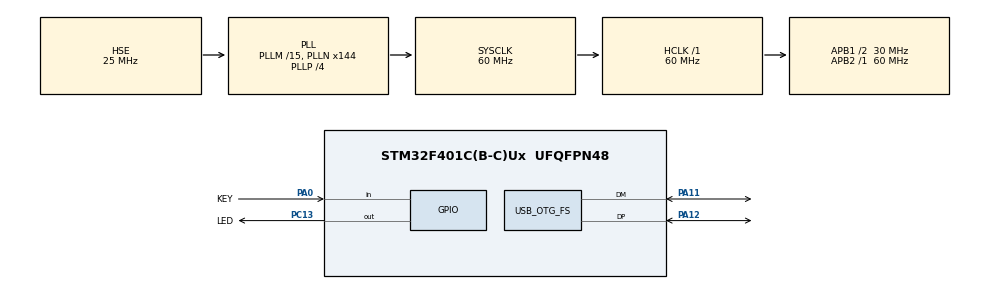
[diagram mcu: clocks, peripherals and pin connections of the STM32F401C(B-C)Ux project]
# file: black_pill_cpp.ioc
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Mcu.Family=STM32F4
Mcu.Name=STM32F401C(B-C)Ux
Mcu.Package=UFQFPN48
NVIC.OTG_FS_IRQn=true\:0\:0\:false\:false\:true\:true\:true
NVIC.PriorityGroup=NVIC_PRIORITYGROUP_4
NVIC.TIM4_IRQn=true\:0\:0\:false\:false\:true\:true\:true
PA0-WKUP.GPIO_Label=KEY
PA0-WKUP.GPIO_PuPd=GPIO_PULLUP
PA0-WKUP.Signal=GPIO_Input
PA11.Mode=Device_Only
PA11.Signal=USB_OTG_FS_DM
PA12.Mode=Device_Only
PA12.Signal=USB_OTG_FS_DP
PC13-ANTI_TAMP.GPIO_Label=LED
PC13-ANTI_TAMP.PinState=GPIO_PIN_RESET
PC13-ANTI_TAMP.Signal=GPIO_Output
PC14-OSC32_IN.Mode=LSE-External-Oscillator
PC14-OSC32_IN.Signal=RCC_OSC32_IN
PC15-OSC32_OUT.Mode=LSE-External-Oscillator
PC15-OSC32_OUT.Signal=RCC_OSC32_OUT
PH0\ -\ OSC_IN.Mode=HSE-External-Oscillator
PH0\ -\ OSC_IN.Signal=RCC_OSC_IN
PH1\ -\ OSC_OUT.Mode=HSE-External-Oscillator
PH1\ -\ OSC_OUT.Signal=RCC_OSC_OUT
ProjectManager.HeapSize=0x200
ProjectManager.StackSize=0x400
ProjectManager.TargetToolchain=STM32CubeIDE
RCC.48MHZClocksFreq_Value=48000000
RCC.AHBFreq_Value=60000000
RCC.APB1CLKDivider=RCC_HCLK_DIV2
RCC.APB1Freq_Value=30000000
RCC.APB1TimFreq_Value=60000000
RCC.APB2Freq_Value=60000000
RCC.APB2TimFreq_Value=60000000
RCC.CortexFreq_Value=60000000
RCC.HCLKFreq_Value=60000000
RCC.HSE_VALUE=25000000
RCC.HSI_VALUE=16000000
RCC.PLLM=15
RCC.PLLN=144
RCC.PLLP=RCC_PLLP_DIV4
RCC.PLLQ=5
RCC.SYSCLKFreq_VALUE=60000000
RCC.SYSCLKSource=RCC_SYSCLKSOURCE_PLLCLK
RCC.VCOOutputFreq_Value=240000000
TIM4.AutoReloadPreload=TIM_AUTORELOAD_PRELOAD_ENABLE
TIM4.Period=1000
TIM4.Prescaler=60
USB_DEVICE.CLASS_NAME_FS=CDC
USB_DEVICE.VirtualMode=Cdc
USB_DEVICE.VirtualModeFS=Cdc_FS
USB_OTG_FS.VirtualMode=Device_Only
VP_TIM4_VS_ClockSourceINT.Mode=Internal
VP_USB_DEVICE_VS_USB_DEVICE_CDC_FS.Mode=CDC_FS
board=custom

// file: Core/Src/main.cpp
/* USER CODE BEGIN Header */
/**
  ******************************************************************************
  * @file           : main.c
  * @brief          : Main program body
  ******************************************************************************
  * @attention
  *
  * Copyright (c) 2022 STMicroelectronics.
  * All rights reserved.
  *
  * This software is licensed under terms that can be found in the LICENSE file
  * in the root directory of this software component.
  * If no LICENSE file comes with this software, it is provided AS-IS.
  *
  ******************************************************************************
  */
/* USER CODE END Header */
#include "main.h"
#include "usb_device.h"
#include "basic_control.h"
#include "usbd_cdc_if.h"

/* USER CODE BEGIN PTD */

/* USER CODE END  PTD */

TIM_HandleTypeDef htim4;

/* USER CODE BEGIN PV */
int mscount = 0;
unsigned char test_data[] = "This is a big ass string\r\n";
// led_state led_control;
/* USER CODE END PV */

void SystemClock_Config(void);
static void MX_GPIO_Init(void);
static void MX_TIM4_Init(void);
/* USER CODE BEGIN PFP */
// uint8_t send_string(uint8_t*[], uint8_t length);
// void process_command(led_state&);

/* USER CODE END PFP */

int main(void)
{

  /* MCU Configuration--------------------------------------------------------*/

  /* Reset of all peripherals, Initializes the Flash interface and the Systick. */
  HAL_Init();

  /* Configure the system clock */
  SystemClock_Config();

  /* Initialize all configured peripherals */
  MX_GPIO_Init();
  MX_TIM4_Init();
  MX_USB_DEVICE_Init();
  /* USER CODE BEGIN 2 */
  uint8_t nbyte = 0;

  //HAL_GPIO_WritePin(LED_GPIO_Port, LED_Pin,GPIO_PinState::GPIO_PIN_RESET);
  /* USER CODE END 2 */

  /* Infinite loop */
  while (1)
  {
    /* USER CODE BEGIN 3 */
   uint8_t receive_status;
   uint32_t l = 1;
   receive_status = USBD_Interface_fops_FS.Receive(&nbyte, &l);
   if(receive_status == USBD_OK){
    uint8_t string_buffer[] = "I recieved X in string\r";
    string_buffer[11] = nbyte;
    CDC_Transmit_FS(string_buffer,sizeof(string_buffer));
	  HAL_GPIO_TogglePin(LED_GPIO_Port, LED_Pin);
   }
   else{
    uint8_t buf = 0x30;
   	CDC_Transmit_FS(&buf, 1);
   }
  /* USER CODE END 3 */
  }
}

void SystemClock_Config(void)
{
  RCC_OscInitTypeDef RCC_OscInitStruct = {0};
  RCC_ClkInitTypeDef RCC_ClkInitStruct = {0};

  /** Configure the main internal regulator output voltage
  */
  __HAL_RCC_PWR_CLK_ENABLE();
  __HAL_PWR_VOLTAGESCALING_CONFIG(PWR_REGULATOR_VOLTAGE_SCALE2);
  /** Initializes the RCC Oscillators according to the specified parameters
  * in the RCC_OscInitTypeDef structure.
  */
  RCC_OscInitStruct.OscillatorType = RCC_OSCILLATORTYPE_HSE;
  RCC_OscInitStruct.HSEState = RCC_HSE_ON;
  RCC_OscInitStruct.PLL.PLLState = RCC_PLL_ON;
  RCC_OscInitStruct.PLL.PLLSource = RCC_PLLSOURCE_HSE;
  RCC_OscInitStruct.PLL.PLLM = 15;
  RCC_OscInitStruct.PLL.PLLN = 144;
  RCC_OscInitStruct.PLL.PLLP = RCC_PLLP_DIV4;
  RCC_OscInitStruct.PLL.PLLQ = 5;
  if (HAL_RCC_OscConfig(&RCC_OscInitStruct) != HAL_OK)
  {
    Error_Handler();
  }
  /** Initializes the CPU, AHB and APB buses clocks
  */
  RCC_ClkInitStruct.ClockType = RCC_CLOCKTYPE_HCLK|RCC_CLOCKTYPE_SYSCLK
                              |RCC_CLOCKTYPE_PCLK1|RCC_CLOCKTYPE_PCLK2;
  RCC_ClkInitStruct.SYSCLKSource = RCC_SYSCLKSOURCE_PLLCLK;
  RCC_ClkInitStruct.AHBCLKDivider = RCC_SYSCLK_DIV1;
  RCC_ClkInitStruct.APB1CLKDivider = RCC_HCLK_DIV2;
  RCC_ClkInitStruct.APB2CLKDivider = RCC_HCLK_DIV1;

  if (HAL_RCC_ClockConfig(&RCC_ClkInitStruct, FLASH_LATENCY_1) != HAL_OK)
  {
    Error_Handler();
  }
}

static void MX_TIM4_Init(void)
{

  TIM_ClockConfigTypeDef sClockSourceConfig = {0};
  TIM_MasterConfigTypeDef sMasterConfig = {0};

  htim4.Instance = TIM4;
  htim4.Init.Prescaler = 60;
  htim4.Init.CounterMode = TIM_COUNTERMODE_UP;
  htim4.Init.Period = 1000;
  htim4.Init.ClockDivision = TIM_CLOCKDIVISION_DIV1;
  htim4.Init.AutoReloadPreload = TIM_AUTORELOAD_PRELOAD_ENABLE;
  if (HAL_TIM_Base_Init(&htim4) != HAL_OK)
  {
    Error_Handler();
  }
  sClockSourceConfig.ClockSource = TIM_CLOCKSOURCE_INTERNAL;
  if (HAL_TIM_ConfigClockSource(&htim4, &sClockSourceConfig) != HAL_OK)
  {
    Error_Handler();
  }
  sMasterConfig.MasterOutputTrigger = TIM_TRGO_RESET;
  sMasterConfig.MasterSlaveMode = TIM_MASTERSLAVEMODE_DISABLE;
  if (HAL_TIMEx_MasterConfigSynchronization(&htim4, &sMasterConfig) != HAL_OK)
  {
    Error_Handler();
  }
  /* USER CODE BEGIN TIM4_Init 2 */
  HAL_TIM_Base_Start_IT(&htim4);
  /* USER CODE END TIM4_Init 2 */

}

static void MX_GPIO_Init(void)
{
  GPIO_InitTypeDef GPIO_InitStruct = {0};

  /* GPIO Ports Clock Enable */
  __HAL_RCC_GPIOC_CLK_ENABLE();
  __HAL_RCC_GPIOH_CLK_ENABLE();
  __HAL_RCC_GPIOA_CLK_ENABLE();

  /*Configure GPIO pin Output Level */
  HAL_GPIO_WritePin(LED_GPIO_Port, LED_Pin, GPIO_PIN_SET);

  /*Configure GPIO pin : LED_Pin */
  GPIO_InitStruct.Pin = LED_Pin;
  GPIO_InitStruct.Mode = GPIO_MODE_OUTPUT_PP;
  GPIO_InitStruct.Pull = GPIO_NOPULL;
  GPIO_InitStruct.Speed = GPIO_SPEED_FREQ_LOW;
  HAL_GPIO_Init(LED_GPIO_Port, &GPIO_InitStruct);

  /*Configure GPIO pin : KEY_Pin */
  GPIO_InitStruct.Pin = KEY_Pin;
  GPIO_InitStruct.Mode = GPIO_MODE_INPUT;
  GPIO_InitStruct.Pull = GPIO_PULLUP;
  HAL_GPIO_Init(KEY_GPIO_Port, &GPIO_InitStruct);

}

/* USER CODE BEGIN 4 */
void HAL_TIM_PeriodElapsedCallback(TIM_HandleTypeDef * htim){
	if(mscount == 500){
		mscount = 0;
		//HAL_GPIO_TogglePin(LED_GPIO_Port, LED_Pin);
	}
	mscount += 1;
}

// void process_command(led_state& input_msg){
	//bool set_led = input_msg.get_state();
	//HAL_GPIO_WritePin(LED_GPIO_Port, LED_Pin, set_led);
  //HAL_GPIO_TogglePin(LED_GPIO_Port,LED_Pin);
// }

uint8_t send_string(uint8_t*[], uint8_t length){
  for(uint8_t i; i<length; i++){

  }
}
/* USER CODE END 4 */

void Error_Handler(void)
{
  __disable_irq();
  while (1)
  {
  }
}
